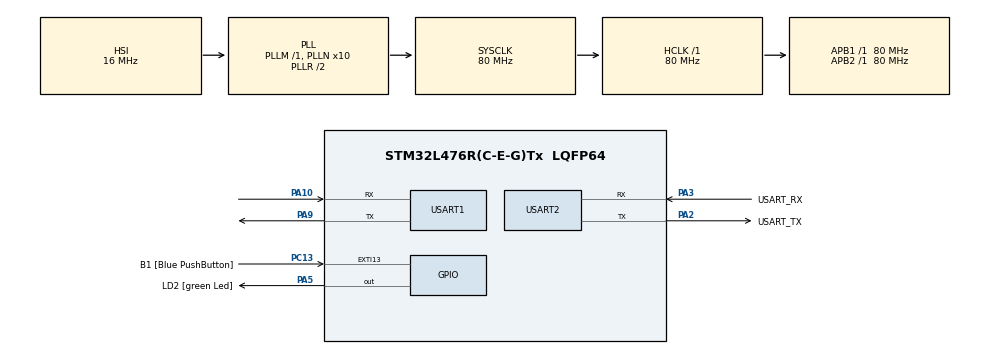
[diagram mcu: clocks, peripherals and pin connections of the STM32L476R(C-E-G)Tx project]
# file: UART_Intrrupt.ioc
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Mcu.Family=STM32L4
Mcu.Name=STM32L476R(C-E-G)Tx
Mcu.Package=LQFP64
NVIC.PriorityGroup=NVIC_PRIORITYGROUP_4
NVIC.USART1_IRQn=true\:0\:0\:false\:false\:true\:true\:true\:true
NVIC.USART2_IRQn=true\:0\:0\:false\:false\:true\:true\:true\:true
PA10.Mode=Asynchronous
PA10.Signal=USART1_RX
PA13\ (JTMS-SWDIO).GPIO_Label=TMS
PA13\ (JTMS-SWDIO).Mode=Serial_Wire
PA13\ (JTMS-SWDIO).Signal=SYS_JTMS-SWDIO
PA14\ (JTCK-SWCLK).GPIO_Label=TCK
PA14\ (JTCK-SWCLK).Mode=Serial_Wire
PA14\ (JTCK-SWCLK).Signal=SYS_JTCK-SWCLK
PA2.GPIO_Label=USART_TX
PA2.GPIO_Mode=GPIO_MODE_AF_PP
PA2.GPIO_PuPd=GPIO_NOPULL
PA2.GPIO_Speed=GPIO_SPEED_FREQ_VERY_HIGH
PA2.Mode=Asynchronous
PA2.Signal=USART2_TX
PA3.GPIO_Label=USART_RX
PA3.GPIO_Mode=GPIO_MODE_AF_PP
PA3.GPIO_PuPd=GPIO_NOPULL
PA3.GPIO_Speed=GPIO_SPEED_FREQ_VERY_HIGH
PA3.Mode=Asynchronous
PA3.Signal=USART2_RX
PA5.GPIO_Label=LD2 [green Led]
PA5.GPIO_ModeDefaultOutputPP=GPIO_MODE_OUTPUT_PP
PA5.GPIO_PuPd=GPIO_NOPULL
PA5.GPIO_Speed=GPIO_SPEED_FREQ_LOW
PA5.Signal=GPIO_Output
PA9.Mode=Asynchronous
PA9.Signal=USART1_TX
PB3\ (JTDO-TRACESWO).GPIO_Label=SWO
PB3\ (JTDO-TRACESWO).Signal=SYS_JTDO-SWO
PC13.GPIO_Label=B1 [Blue PushButton]
PC13.GPIO_ModeDefaultEXTI=GPIO_MODE_IT_FALLING
PC13.GPIO_PuPd=GPIO_NOPULL
PC13.Signal=GPXTI13
PC14-OSC32_IN\ (PC14).Signal=RCC_OSC32_IN
PC15-OSC32_OUT\ (PC15).Signal=RCC_OSC32_OUT
PH0-OSC_IN\ (PH0).Mode=HSE-External-Oscillator
PH0-OSC_IN\ (PH0).Signal=RCC_OSC_IN
PH1-OSC_OUT\ (PH1).Mode=HSE-External-Oscillator
PH1-OSC_OUT\ (PH1).Signal=RCC_OSC_OUT
ProjectManager.HeapSize=0x200
ProjectManager.StackSize=0x400
ProjectManager.TargetToolchain=STM32CubeIDE
RCC.ADCFreq_Value=64000000
RCC.AHBFreq_Value=80000000
RCC.APB1Freq_Value=80000000
RCC.APB1TimFreq_Value=80000000
RCC.APB2Freq_Value=80000000
RCC.APB2TimFreq_Value=80000000
RCC.CortexFreq_Value=80000000
RCC.HCLKFreq_Value=80000000
RCC.HSE_VALUE=8000000
RCC.HSI_VALUE=16000000
RCC.MSI_VALUE=4000000
RCC.PLLN=10
RCC.PLLSourceVirtual=RCC_PLLSOURCE_HSI
RCC.PREFETCH_ENABLE=1
RCC.SYSCLKFreq_VALUE=80000000
RCC.SYSCLKSource=RCC_SYSCLKSOURCE_PLLCLK
RCC.USBFreq_Value=64000000
RCC.VCOOutputFreq_Value=160000000
USART1.VirtualMode-Asynchronous=VM_ASYNC
USART2.VirtualMode-Asynchronous=VM_ASYNC
board=NUCLEO-L476RG

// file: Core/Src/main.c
/* USER CODE BEGIN Header */
/**
  ******************************************************************************
  * @file           : main.c
  * @brief          : Main program body
  ******************************************************************************
  * @attention
  *
  * Copyright (c) 2025 STMicroelectronics.
  * All rights reserved.
  *
  * This software is licensed under terms that can be found in the LICENSE file
  * in the root directory of this software component.
  * If no LICENSE file comes with this software, it is provided AS-IS.
  *
  ******************************************************************************
  */
/* USER CODE END Header */
#include "main.h"

UART_HandleTypeDef huart1;
UART_HandleTypeDef huart2;

/* USER CODE BEGIN PV */

uint8_t uartTxMsg1[]="Hello UART 1 Interrupt\r\n",uartRxMsg1;
uint8_t uartTxMsg2[]="Hello UART 2 Interrupt\r\n",uartRxMsg2;
/* USER CODE END PV */

void SystemClock_Config(void);
static void MX_GPIO_Init(void);
static void MX_USART2_UART_Init(void);
static void MX_USART1_UART_Init(void);

/* USER CODE BEGIN 0 */
void HAL_UART_TxcpltCallBack(UART_HandleTypeDef* huart)
{

}
void HAL_UART_RxcpltCallBack(UART_HandleTypeDef* huart)
{
	if (huart->Instance == USART2)
	    {
	        HAL_UART_Receive_IT(&huart2, &uartRxMsg2, 1);
	    }
	    else if (huart->Instance == USART1)
	    {
	        HAL_UART_Receive_IT(&huart1, &uartRxMsg1, 1);
	    }
}

/* USER CODE END 0 */

int main(void)
{

  /* MCU Configuration--------------------------------------------------------*/

  /* Reset of all peripherals, Initializes the Flash interface and the Systick. */
  HAL_Init();

  /* Configure the system clock */
  SystemClock_Config();

  /* Initialize all configured peripherals */
  MX_GPIO_Init();
  MX_USART2_UART_Init();
  MX_USART1_UART_Init();
  /* USER CODE BEGIN 2 */
  HAL_UART_Transmit_IT(&huart1, uartTxMsg1, 23);
  HAL_UART_Transmit_IT(&huart2, uartTxMsg2, 23);
  HAL_UART_Receive_IT(&huart1, &uartRxMsg1, 1);
  HAL_UART_Receive_IT(&huart2, &uartRxMsg2, 1);
  /* USER CODE END 2 */

  /* Infinite loop */
  while (1)
  {

  }
}

void SystemClock_Config(void)
{
  RCC_OscInitTypeDef RCC_OscInitStruct = {0};
  RCC_ClkInitTypeDef RCC_ClkInitStruct = {0};

  /** Configure the main internal regulator output voltage
  */
  if (HAL_PWREx_ControlVoltageScaling(PWR_REGULATOR_VOLTAGE_SCALE1) != HAL_OK)
  {
    Error_Handler();
  }

  /** Initializes the RCC Oscillators according to the specified parameters
  * in the RCC_OscInitTypeDef structure.
  */
  RCC_OscInitStruct.OscillatorType = RCC_OSCILLATORTYPE_HSI;
  RCC_OscInitStruct.HSIState = RCC_HSI_ON;
  RCC_OscInitStruct.HSICalibrationValue = RCC_HSICALIBRATION_DEFAULT;
  RCC_OscInitStruct.PLL.PLLState = RCC_PLL_ON;
  RCC_OscInitStruct.PLL.PLLSource = RCC_PLLSOURCE_HSI;
  RCC_OscInitStruct.PLL.PLLM = 1;
  RCC_OscInitStruct.PLL.PLLN = 10;
  RCC_OscInitStruct.PLL.PLLP = RCC_PLLP_DIV7;
  RCC_OscInitStruct.PLL.PLLQ = RCC_PLLQ_DIV2;
  RCC_OscInitStruct.PLL.PLLR = RCC_PLLR_DIV2;
  if (HAL_RCC_OscConfig(&RCC_OscInitStruct) != HAL_OK)
  {
    Error_Handler();
  }

  /** Initializes the CPU, AHB and APB buses clocks
  */
  RCC_ClkInitStruct.ClockType = RCC_CLOCKTYPE_HCLK|RCC_CLOCKTYPE_SYSCLK
                              |RCC_CLOCKTYPE_PCLK1|RCC_CLOCKTYPE_PCLK2;
  RCC_ClkInitStruct.SYSCLKSource = RCC_SYSCLKSOURCE_PLLCLK;
  RCC_ClkInitStruct.AHBCLKDivider = RCC_SYSCLK_DIV1;
  RCC_ClkInitStruct.APB1CLKDivider = RCC_HCLK_DIV1;
  RCC_ClkInitStruct.APB2CLKDivider = RCC_HCLK_DIV1;

  if (HAL_RCC_ClockConfig(&RCC_ClkInitStruct, FLASH_LATENCY_4) != HAL_OK)
  {
    Error_Handler();
  }
}

static void MX_USART1_UART_Init(void)
{

  /* USER CODE BEGIN USART1_Init 0 */
  __HAL_RCC_USART1_CLK_ENABLE();
  /* USER CODE END USART1_Init 0 */

  huart1.Instance = USART1;
  huart1.Init.BaudRate = 115200;
  huart1.Init.WordLength = UART_WORDLENGTH_8B;
  huart1.Init.StopBits = UART_STOPBITS_1;
  huart1.Init.Parity = UART_PARITY_NONE;
  huart1.Init.Mode = UART_MODE_TX_RX;
  huart1.Init.HwFlowCtl = UART_HWCONTROL_NONE;
  huart1.Init.OverSampling = UART_OVERSAMPLING_16;
  huart1.Init.OneBitSampling = UART_ONE_BIT_SAMPLE_DISABLE;
  huart1.AdvancedInit.AdvFeatureInit = UART_ADVFEATURE_NO_INIT;
  if (HAL_UART_Init(&huart1) != HAL_OK)
  {
    Error_Handler();
  }
  /* USER CODE BEGIN USART1_Init 2 */
  NVIC_SetPriority(USART1_IRQn,0);
  NVIC_EnableIRQ(USART1_IRQn);
  /* USER CODE END USART1_Init 2 */

}

static void MX_USART2_UART_Init(void)
{

  /* USER CODE BEGIN USART2_Init 0 */
  __HAL_RCC_USART2_CLK_ENABLE();
  /* USER CODE END USART2_Init 0 */

  huart2.Instance = USART2;
  huart2.Init.BaudRate = 115200;
  huart2.Init.WordLength = UART_WORDLENGTH_8B;
  huart2.Init.StopBits = UART_STOPBITS_1;
  huart2.Init.Parity = UART_PARITY_NONE;
  huart2.Init.Mode = UART_MODE_TX_RX;
  huart2.Init.HwFlowCtl = UART_HWCONTROL_NONE;
  huart2.Init.OverSampling = UART_OVERSAMPLING_16;
  huart2.Init.OneBitSampling = UART_ONE_BIT_SAMPLE_DISABLE;
  huart2.AdvancedInit.AdvFeatureInit = UART_ADVFEATURE_NO_INIT;
  if (HAL_UART_Init(&huart2) != HAL_OK)
  {
    Error_Handler();
  }
  /* USER CODE BEGIN USART2_Init 2 */
  NVIC_SetPriority(USART2_IRQn,0);
  NVIC_EnableIRQ(USART2_IRQn);
  /* USER CODE END USART2_Init 2 */

}

static void MX_GPIO_Init(void)
{
  GPIO_InitTypeDef GPIO_InitStruct = {0};

  /* GPIO Ports Clock Enable */
  __HAL_RCC_GPIOC_CLK_ENABLE();
  __HAL_RCC_GPIOH_CLK_ENABLE();
  __HAL_RCC_GPIOA_CLK_ENABLE();
  __HAL_RCC_GPIOB_CLK_ENABLE();

  /*Configure GPIO pin Output Level */
  HAL_GPIO_WritePin(LD2_GPIO_Port, LD2_Pin, GPIO_PIN_RESET);

  /*Configure GPIO pin : B1_Pin */
  GPIO_InitStruct.Pin = B1_Pin;
  GPIO_InitStruct.Mode = GPIO_MODE_IT_FALLING;
  GPIO_InitStruct.Pull = GPIO_NOPULL;
  HAL_GPIO_Init(B1_GPIO_Port, &GPIO_InitStruct);

  /*Configure GPIO pin : LD2_Pin */
  GPIO_InitStruct.Pin = LD2_Pin;
  GPIO_InitStruct.Mode = GPIO_MODE_OUTPUT_PP;
  GPIO_InitStruct.Pull = GPIO_NOPULL;
  GPIO_InitStruct.Speed = GPIO_SPEED_FREQ_LOW;
  HAL_GPIO_Init(LD2_GPIO_Port, &GPIO_InitStruct);

}

void Error_Handler(void)
{
  __disable_irq();
  while (1)
  {
  }
}
